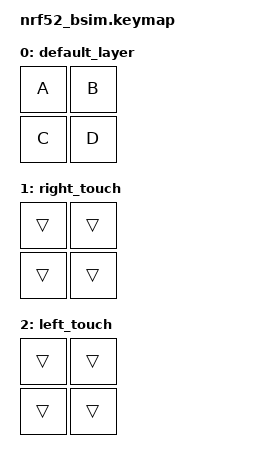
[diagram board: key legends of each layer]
/*
 * Copyright (c) 2026 amgskobo
 * SPDX-License-Identifier: MIT
 *
 * Two pads, each a pointer that raises its own presence layer and a scroller
 * while the other one's layer is up: the left pad on the central, the right
 * pad on the peripheral, behind the split link. Each presence layer is
 * blocked by the other one, so when both pads move at once exactly one of
 * them becomes the pointer.
 *
 * 4.00 s  Both pads move. The left pad's reports reach the central first, so
 *         LEFT goes up and the right pad scrolls; RIGHT stays down.
 * 4.10 s  The left pad stops. LEFT drops 400 ms later, at about 4.5 s, and
 *         the right pad, still moving, becomes a pointer and raises RIGHT.
 *         RIGHT drops 400 ms after it stops at 4.79 s.
 * 5.50 s  A on the central. The right pad moves at 5.60 s, inside the 300 ms
 *         typing guard: it points, but raises nothing.
 * 6.50 s  The right pad raises RIGHT. B, an excluded key, at 6.60 s keeps
 *         it; A at 6.70 s drops it at once.
 * 7.50 s  The right pad raises RIGHT. C on the peripheral at 7.60 s drops it.
 */
#include <behaviors.dtsi>
#include <dt-bindings/zmk/keys.h>
#include <dt-bindings/zmk/kscan_mock.h>
#include <zephyr/dt-bindings/input/input-event-codes.h>
#include "shared.dtsi"
&kscan {
    /delete-property/ exit-after;
    /* A mock event's delay is also the wait after it, so a no-op release
     * leads: A goes down at 5.5 s, B at 6.6 s and A again at 6.7 s. */
    events = <ZMK_MOCK_RELEASE(1,1,2750) ZMK_MOCK_PRESS(0,0,50) ZMK_MOCK_RELEASE(0,0,1050)
              ZMK_MOCK_PRESS(0,1,50) ZMK_MOCK_RELEASE(0,1,50)
              ZMK_MOCK_PRESS(0,0,50) ZMK_MOCK_RELEASE(0,0,50)>;
};
/ {
    left_pad: left_pad {
        compatible = "zmk,test-input-script";
        events = <
            /* 4.00 s to 4.09 s. */
            MOVE(4000, 0, 10) MOVE(10, 0, 10) MOVE(10, 0, 10) MOVE(10, 0, 10) MOVE(10, 0, 10)
            MOVE(10, 0, 10) MOVE(10, 0, 10) MOVE(10, 0, 10) MOVE(10, 0, 10) MOVE(10, 0, 10)
        >;
    };
    left_listener: left_listener {
        compatible = "zmk,input-listener";
        device = <&left_pad>;
        input-processors = <&left_touch>;
        right_active {
            layers = <RIGHT>;
            input-processors = <&zip_runtime_scroll_mapper>;
        };
    };
};
&split_listener {
    status = "okay";
};
/ {
    keymap {
        compatible = "zmk,keymap";
        default_layer {
            bindings = <
            &kp A &kp B
            &kp C &kp D>;
        };
        right_touch {
            bindings = <
            &trans &trans
            &trans &trans>;
        };
        left_touch {
            bindings = <
            &trans &trans
            &trans &trans>;
        };
    };
};
